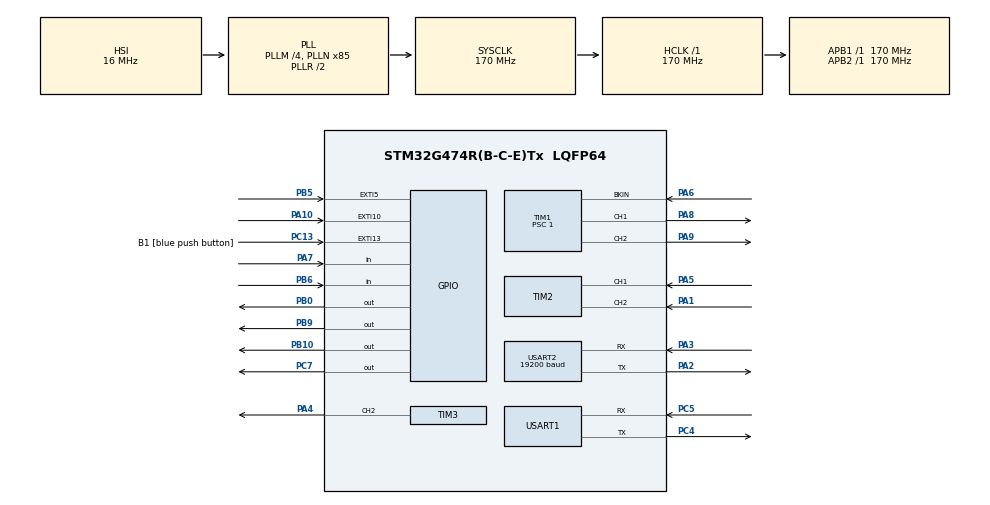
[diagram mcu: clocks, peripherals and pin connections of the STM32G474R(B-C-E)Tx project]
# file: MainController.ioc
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ARM.CMSIS-DSP.1.15.0.CMSISJjDSP=Source
ARM.CMSIS.6.0.0.CMSISJjCORE=true
Dma.Request0=USART2_RX
Dma.Request1=USART1_RX
Dma.Request2=TIM3_CH2
Dma.Request3=USART2_TX
Dma.TIM3_CH2.2.Direction=DMA_MEMORY_TO_PERIPH
Dma.TIM3_CH2.2.EventEnable=DISABLE
Dma.TIM3_CH2.2.Instance=DMA1_Channel3
Dma.TIM3_CH2.2.MemDataAlignment=DMA_MDATAALIGN_HALFWORD
Dma.TIM3_CH2.2.MemInc=DMA_MINC_ENABLE
Dma.TIM3_CH2.2.Mode=DMA_NORMAL
Dma.TIM3_CH2.2.PeriphDataAlignment=DMA_PDATAALIGN_HALFWORD
Dma.TIM3_CH2.2.PeriphInc=DMA_PINC_DISABLE
Dma.TIM3_CH2.2.Polarity=HAL_DMAMUX_REQ_GEN_RISING
Dma.TIM3_CH2.2.Priority=DMA_PRIORITY_LOW
Dma.TIM3_CH2.2.RequestNumber=1
Dma.TIM3_CH2.2.SignalID=NONE
Dma.TIM3_CH2.2.SyncEnable=DISABLE
Dma.TIM3_CH2.2.SyncPolarity=HAL_DMAMUX_SYNC_NO_EVENT
Dma.TIM3_CH2.2.SyncRequestNumber=1
Dma.TIM3_CH2.2.SyncSignalID=NONE
Dma.USART1_RX.1.Direction=DMA_PERIPH_TO_MEMORY
Dma.USART1_RX.1.EventEnable=DISABLE
Dma.USART1_RX.1.Instance=DMA2_Channel2
Dma.USART1_RX.1.MemDataAlignment=DMA_MDATAALIGN_BYTE
Dma.USART1_RX.1.MemInc=DMA_MINC_ENABLE
Dma.USART1_RX.1.Mode=DMA_CIRCULAR
Dma.USART1_RX.1.PeriphDataAlignment=DMA_PDATAALIGN_BYTE
Dma.USART1_RX.1.PeriphInc=DMA_PINC_DISABLE
Dma.USART1_RX.1.Polarity=HAL_DMAMUX_REQ_GEN_RISING
Dma.USART1_RX.1.Priority=DMA_PRIORITY_HIGH
Dma.USART1_RX.1.RequestNumber=1
Dma.USART1_RX.1.SignalID=NONE
Dma.USART1_RX.1.SyncEnable=DISABLE
Dma.USART1_RX.1.SyncPolarity=HAL_DMAMUX_SYNC_NO_EVENT
Dma.USART1_RX.1.SyncRequestNumber=1
Dma.USART1_RX.1.SyncSignalID=NONE
Dma.USART2_RX.0.Direction=DMA_PERIPH_TO_MEMORY
Dma.USART2_RX.0.EventEnable=DISABLE
Dma.USART2_RX.0.Instance=DMA1_Channel2
Dma.USART2_RX.0.MemDataAlignment=DMA_MDATAALIGN_BYTE
Dma.USART2_RX.0.MemInc=DMA_MINC_ENABLE
Dma.USART2_RX.0.Mode=DMA_NORMAL
Dma.USART2_RX.0.PeriphDataAlignment=DMA_PDATAALIGN_BYTE
Dma.USART2_RX.0.PeriphInc=DMA_PINC_DISABLE
Dma.USART2_RX.0.Polarity=HAL_DMAMUX_REQ_GEN_RISING
Dma.USART2_RX.0.Priority=DMA_PRIORITY_LOW
Dma.USART2_RX.0.RequestNumber=1
Dma.USART2_RX.0.SignalID=NONE
Dma.USART2_RX.0.SyncEnable=DISABLE
Dma.USART2_RX.0.SyncPolarity=HAL_DMAMUX_SYNC_NO_EVENT
Dma.USART2_RX.0.SyncRequestNumber=1
Dma.USART2_RX.0.SyncSignalID=NONE
Dma.USART2_TX.3.Direction=DMA_MEMORY_TO_PERIPH
Dma.USART2_TX.3.EventEnable=DISABLE
Dma.USART2_TX.3.Instance=DMA1_Channel1
Dma.USART2_TX.3.MemDataAlignment=DMA_MDATAALIGN_BYTE
Dma.USART2_TX.3.MemInc=DMA_MINC_ENABLE
Dma.USART2_TX.3.Mode=DMA_NORMAL
Dma.USART2_TX.3.PeriphDataAlignment=DMA_PDATAALIGN_BYTE
Dma.USART2_TX.3.PeriphInc=DMA_PINC_DISABLE
Dma.USART2_TX.3.Polarity=HAL_DMAMUX_REQ_GEN_RISING
Dma.USART2_TX.3.Priority=DMA_PRIORITY_LOW
Dma.USART2_TX.3.RequestNumber=1
Dma.USART2_TX.3.SignalID=NONE
Dma.USART2_TX.3.SyncEnable=DISABLE
Dma.USART2_TX.3.SyncPolarity=HAL_DMAMUX_SYNC_NO_EVENT
Dma.USART2_TX.3.SyncRequestNumber=1
Dma.USART2_TX.3.SyncSignalID=NONE
Mcu.Family=STM32G4
Mcu.Name=STM32G474R(B-C-E)Tx
Mcu.Package=LQFP64
NVIC.DMA1_Channel1_IRQn=true\:0\:0\:false\:false\:true\:false\:true\:true
NVIC.DMA1_Channel2_IRQn=true\:0\:0\:false\:false\:true\:false\:true\:true
NVIC.DMA1_Channel3_IRQn=true\:0\:0\:false\:false\:true\:false\:true\:true
NVIC.DMA2_Channel2_IRQn=true\:0\:0\:false\:false\:true\:false\:true\:true
NVIC.EXTI15_10_IRQn=true\:0\:0\:false\:false\:true\:true\:true\:true
NVIC.EXTI9_5_IRQn=true\:0\:0\:false\:false\:true\:true\:true\:true
NVIC.PriorityGroup=NVIC_PRIORITYGROUP_4
NVIC.TIM1_BRK_TIM15_IRQn=true\:0\:0\:false\:false\:true\:true\:true\:true
NVIC.TIM1_UP_TIM16_IRQn=true\:0\:0\:false\:false\:true\:true\:true\:true
NVIC.TIM4_IRQn=true\:0\:0\:false\:false\:true\:true\:true\:true
NVIC.TIM5_IRQn=true\:0\:0\:false\:false\:true\:true\:true\:true
NVIC.TIM7_DAC_IRQn=true\:0\:0\:false\:false\:true\:true\:true\:true
NVIC.USART2_IRQn=true\:0\:0\:false\:false\:true\:true\:true\:true
PA1.Signal=S_TIM2_CH2
PA10.GPIO_ModeDefaultEXTI=GPIO_MODE_IT_FALLING
PA10.GPIO_PuPd=GPIO_PULLUP
PA10.Signal=GPXTI10
PA13.GPIO_Label=T_SWDIO
PA13.Mode=Trace_Asynchronous_SW
PA13.Signal=SYS_JTMS-SWDIO
PA14.GPIO_Label=T_SWCLK
PA14.Mode=Trace_Asynchronous_SW
PA14.Signal=SYS_JTCK-SWCLK
PA2.Mode=Asynchronous
PA2.Signal=USART2_TX
PA3.Mode=Asynchronous
PA3.Signal=USART2_RX
PA4.Signal=S_TIM3_CH2
PA5.Signal=S_TIM2_CH1
PA6.GPIO_PuPd=GPIO_PULLUP
PA6.Mode=Activate-Break-Input
PA6.Signal=TIM1_BKIN
PA7.GPIO_PuPd=GPIO_PULLUP
PA7.Signal=GPIO_Input
PA8.Signal=S_TIM1_CH1
PA9.Signal=S_TIM1_CH2
PB0.PinState=GPIO_PIN_SET
PB0.Signal=GPIO_Output
PB10.PinState=GPIO_PIN_SET
PB10.Signal=GPIO_Output
PB3.GPIO_Label=T_SWO
PB3.Mode=Trace_Asynchronous_SW
PB3.Signal=SYS_JTDO-SWO
PB5.GPIO_ModeDefaultEXTI=GPIO_MODE_IT_FALLING
PB5.GPIO_PuPd=GPIO_PULLUP
PB5.Signal=GPXTI5
PB6.GPIO_PuPd=GPIO_PULLUP
PB6.Signal=GPIO_Input
PB9.PinState=GPIO_PIN_SET
PB9.Signal=GPIO_Output
PC13.GPIO_Label=B1 [blue push button]
PC13.Signal=GPXTI13
PC14-OSC32_IN.Mode=LSE-External-Oscillator
PC14-OSC32_IN.Signal=RCC_OSC32_IN
PC15-OSC32_OUT.Mode=LSE-External-Oscillator
PC15-OSC32_OUT.Signal=RCC_OSC32_OUT
PC4.Mode=Asynchronous
PC4.Signal=USART1_TX
PC5.Mode=Asynchronous
PC5.Signal=USART1_RX
PC7.PinState=GPIO_PIN_SET
PC7.Signal=GPIO_Output
PF0-OSC_IN.Mode=HSE-External-Oscillator
PF0-OSC_IN.Signal=RCC_OSC_IN
PF1-OSC_OUT.Mode=HSE-External-Oscillator
PF1-OSC_OUT.Signal=RCC_OSC_OUT
ProjectManager.HeapSize=0x200
ProjectManager.StackSize=0x400
ProjectManager.TargetToolchain=STM32CubeIDE
RCC.ADC12Freq_Value=170000000
RCC.ADC345Freq_Value=170000000
RCC.AHBFreq_Value=170000000
RCC.APB1Freq_Value=170000000
RCC.APB1TimFreq_Value=170000000
RCC.APB2Freq_Value=170000000
RCC.APB2TimFreq_Value=170000000
RCC.CortexFreq_Value=170000000
RCC.EXTERNAL_CLOCK_VALUE=12288000
RCC.HCLKFreq_Value=170000000
RCC.HSE_VALUE=24000000
RCC.HSI48_VALUE=48000000
RCC.HSI_VALUE=16000000
RCC.PLLM=RCC_PLLM_DIV4
RCC.PLLN=85
RCC.RTCClockSelection=RCC_RTCCLKSOURCE_LSE
RCC.SYSCLKFreq_VALUE=170000000
RCC.SYSCLKSource=RCC_SYSCLKSOURCE_PLLCLK
RCC.USBFreq_Value=170000000
RCC.VCOOutputFreq_Value=340000000
SH.S_TIM1_CH1.0=TIM1_CH1,PWM Generation1 CH1
SH.S_TIM1_CH2.0=TIM1_CH2,PWM Generation2 CH2
SH.S_TIM2_CH1.0=TIM2_CH1,Encoder_Interface
SH.S_TIM2_CH2.0=TIM2_CH2,Encoder_Interface
SH.S_TIM3_CH2.0=TIM3_CH2,PWM Generation2 CH2
TIM1.BreakPolarity=TIM_BREAKPOLARITY_LOW
TIM1.Channel-PWM\ Generation1\ CH1=TIM_CHANNEL_1
TIM1.Channel-PWM\ Generation2\ CH2=TIM_CHANNEL_2
TIM1.OCPolarity_1=TIM_OCPOLARITY_HIGH
TIM1.OCPolarity_2=TIM_OCPOLARITY_HIGH
TIM1.Prescaler=1
TIM1.SourceBRKDigInputPolarity=TIM_BREAKINPUTSOURCE_POLARITY_LOW
TIM16.PeriodNoDither=999
TIM16.Prescaler=169
TIM2.EncoderMode=TIM_ENCODERMODE_TI12
TIM2.IC1Filter=2
TIM2.IC2Filter=2
TIM3.Channel-PWM\ Generation2\ CH2=TIM_CHANNEL_2
TIM3.PeriodNoDither=106
TIM3.Prescaler=1
TIM4.PeriodNoDither=999
TIM4.Prescaler=169
TIM5.PeriodNoDither=1999
TIM5.Prescaler=16999
TIM7.PeriodNoDither=65535
TIM7.Prescaler=169
USART1.VirtualMode-Asynchronous=VM_ASYNC
USART2.BaudRate=19200
USART2.Parity=PARITY_EVEN
USART2.VirtualMode-Asynchronous=VM_ASYNC
USART2.WordLength=WORDLENGTH_9B
VP_ARM.CMSIS-DSP_VS_CMSISJjDSP_1.15.0_1.15.0.Mode=CMSISJjDSP
VP_ARM.CMSIS_VS_CMSISJjCORE_6.0.0_6.0.0.Mode=CMSISJjCORE
VP_SYS_VS_DBSignals.Mode=DisableDeadBatterySignals
VP_TIM16_VS_ClockSourceINT.Mode=Enable_Timer
VP_TIM1_VS_ClockSourceINT.Mode=Internal
VP_TIM3_VS_ClockSourceINT.Mode=Internal
VP_TIM4_VS_ClockSourceINT.Mode=Internal
VP_TIM5_VS_ClockSourceINT.Mode=Internal
VP_TIM7_VS_ClockSourceINT.Mode=Enable_Timer
board=NUCLEO-G474RE

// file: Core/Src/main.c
/* USER CODE BEGIN Header */
/**
  ******************************************************************************
  * @file           : main.c
  * @brief          : Main program body
  ******************************************************************************
  * @attention
  *
  * Copyright (c) 2024 STMicroelectronics.
  * All rights reserved.
  *
  * This software is licensed under terms that can be found in the LICENSE file
  * in the root directory of this software component.
  * If no LICENSE file comes with this software, it is provided AS-IS.
  *
  ******************************************************************************
  */
/* USER CODE END Header */
#include "main.h"

/* USER CODE BEGIN Includes */
#include "subroutine.h"
#include "ModBusRTU.h"
#include "arm_math.h"
#include <math.h>
/* USER CODE END Includes */

TIM_HandleTypeDef htim1;
TIM_HandleTypeDef htim2;
TIM_HandleTypeDef htim3;
TIM_HandleTypeDef htim4;
TIM_HandleTypeDef htim5;
TIM_HandleTypeDef htim7;
TIM_HandleTypeDef htim16;
DMA_HandleTypeDef hdma_tim3_ch2;

UART_HandleTypeDef huart1;
UART_HandleTypeDef huart2;
DMA_HandleTypeDef hdma_usart1_rx;
DMA_HandleTypeDef hdma_usart2_rx;
DMA_HandleTypeDef hdma_usart2_tx;

/* USER CODE BEGIN PV */
////*JOYSTICK PART
// @User: Joystick receiving buffer
uint8_t joystickPayload[1] = {0};

// @User: Encoder's raw angle from QEI
uint32_t qeiRaw = 0;
float qeifloat = 0.0;

// @User: Base system receiving buffer

// @User: Motor's parameter
volatile uint8_t zStop = 0;

///*MODBUS PART
ModbusHandleTypedef hmodbus;

//flag
uint8_t flagShelf = 0; //set shelf
uint16_t piingpong; //movement

uint8_t vacuum;
uint8_t gripper;
uint8_t reed;
uint16_t rState1;
uint16_t rState2;
uint16_t linear_velocity;
uint16_t linear_accel;
uint16_t linear_position;

u16u8_t registerFrame[200]; //middle between base n z axis (they will see the same.)
uint16_t shelfPos[5];
uint16_t setPos;
uint16_t x_pos; // x - axis
uint8_t deb = 0;
uint8_t mode;

uint16_t temPick; // temporary shelves order
uint16_t temPlace;
uint16_t pick[5]; // shelves order array
uint16_t place[5];
uint8_t rnd; // jog counter
uint8_t rnd2;
uint8_t load;

///*Trajectory PART
float time_op = 2;    // stop time in seconds
float position_goal = 0.0;   // stop position in meters
float position_now = 0;
float total_displacement = 0;
float total_time = 0;
float t_acc =0;
float t_const = 0;
float Peak = 0;
uint64_t i = 0;
int num_points = 2000;
float t = 0;
float velocity;
float position;
float startTime;
uint16_t Mode = 0;
uint16_t St;
uint16_t Home = 0;
//uint64_t _micros = 0;
float Vfeedback = 0.0;
float VInM = 0;
arm_pid_instance_f32 PID = {0};
uint16_t dir;
float BTempV;
int pwmM;
uint32_t qeirawread;
uint32_t spd;
uint32_t pos;
float err = 0.008733333333;
float pos_err;
float err_g;
uint16_t rou = 0;
uint16_t Box = 0;
uint16_t Ho = 0;
uint16_t PP = 0;
uint64_t Time_R = 0;
uint64_t Rout;

uint8_t buf[3] = {2,2,3};
uint8_t L_State;
uint8_t L;
uint8_t fin;
int16_t VT;
uint64_t currentTime;
uint8_t end = 0;
uint8_t X1 = 0;
uint8_t X2 = 0;
/////
typedef struct
{
// for record New / Old value to calculate dx / dt
uint64_t Positions[2];
uint64_t TimeStamps[2];
float QEIPostion_1turn;
float QEIAngularVelocity;
}QEI_StructureTypeDef;
QEI_StructureTypeDef QEIdata = {0};
uint64_t _micros = 0;
enum
{
NEW,OLD
};
//////

int64_t diffPosition;
float diffTime;
/* USER CODE END PV */

void SystemClock_Config(void);
static void MX_GPIO_Init(void);
static void MX_DMA_Init(void);
static void MX_USART1_UART_Init(void);
static void MX_USART2_UART_Init(void);
static void MX_TIM1_Init(void);
static void MX_TIM2_Init(void);
static void MX_TIM3_Init(void);
static void MX_TIM5_Init(void);
static void MX_TIM16_Init(void);
static void MX_TIM4_Init(void);
static void MX_TIM7_Init(void);
/* USER CODE BEGIN PFP */
void BaseAction(void);
void OrderSeparate(void);
void generate_trapezoidal_velocity_profile(double t2, double x2);
float PlantSimulation(float VIn) ;
uint64_t micros();
void QEIEncoderPosVel_Update();
/* USER CODE END PFP */

int main(void)
{

  /* MCU Configuration--------------------------------------------------------*/

  /* Reset of all peripherals, Initializes the Flash interface and the Systick. */
  HAL_Init();

  /* Configure the system clock */
  SystemClock_Config();

  /* Initialize all configured peripherals */
  MX_GPIO_Init();
  MX_DMA_Init();
  MX_USART1_UART_Init();
  MX_USART2_UART_Init();
  MX_TIM1_Init();
  MX_TIM2_Init();
  MX_TIM3_Init();
  MX_TIM5_Init();
  MX_TIM16_Init();
  MX_TIM4_Init();
  MX_TIM7_Init();
  /* USER CODE BEGIN 2 */

  ///TRAJECTORY
  PID.Kp = 6.1;
  PID.Ki = 0.001;
  PID.Kd = 0.01;

  arm_pid_init_f32(&PID, 0);
  // @User: Setup UART 1 for communication with joy stick
  HAL_UART_Receive_DMA(&huart1, joystickPayload, 1);

  // @User: Setup UART 2 for communication with Base system
  HAL_TIM_Base_Start_IT(&htim5); //open Timer 5 (interrupt)
  hmodbus.huart = &huart2;
  hmodbus.htim = &htim16;
  hmodbus.slaveAddress = 0x15;
  hmodbus.RegisterSize =200;
  Modbus_init(&hmodbus, registerFrame);
  reed = 0;

  shelfPos[0] = 1;
  shelfPos[1] = 2;
  shelfPos[2] = 3;
  shelfPos[3] = 4;
  shelfPos[4] = 5;

  // @User: Setup Timer 1 for Motor drive
  HAL_TIM_Base_Start(&htim1);
  HAL_TIM_PWM_Start(&htim1, TIM_CHANNEL_1);
  HAL_TIM_PWM_Start(&htim1, TIM_CHANNEL_2);

  // @User: Setup Timer 2 as encoder interface
  HAL_TIM_Encoder_Start(&htim2, TIM_CHANNEL_ALL);

  // @User: Setup Timer 3 for sending led data
  HAL_TIM_Base_Start(&htim3);
//
  // TODO: Test subroutine
//  uint16_t result = retractX();
//  uint16_t result = extendX();
//  HAL_TIM_Base_Start_IT(&htim4);
//  uint8_t result = HomeZ();
//  __HAL_TIM_SET_COUNTER(&htim2, 0);

//  if (position_goal >= 300)
//  {
//	  err_g =  (position_goal * err);
//
//	  pos_err = (position_goal - err_g)+2;
//  }
//
//  else if (position_goal < 300)
//  {
//	  pos_err = position_goal;
//  }

  	pick[0] = 100;
  	pick[1] = 200;
  	pick[2] = 300;
  	pick[3] = 400;
  	pick[4] = 500;

  	place[0] = 0;
  	place[1] = 0;
  	place[2] = 0;
  	place[3] = 0;
  	place[4] = 600;

  	  	  buf[0] = 3;
  		  L_State = updateLED(buf,&htim3,TIM_CHANNEL_2);
  		  uint8_t result = HomeZ();
  		  HAL_Delay(2000);
  		  __HAL_TIM_SET_COUNTER(&htim2, 0);
  		  generate_trapezoidal_velocity_profile(time_op,16.0);
  		  Home = 0;
  		  rou = 0;

  /* USER CODE END 2 */

  /* Infinite loop */
  /* USER CODE BEGIN WHILE */
  while (1)
  {

//	  Mode = 1;

    /* USER CODE END WHILE */

    /* USER CODE BEGIN 3 */

//	  uint8_t result = HomeZ();

	  X2 = HAL_GPIO_ReadPin(GPIOB, GPIO_PIN_6);

	  X1 = HAL_GPIO_ReadPin(GPIOA, GPIO_PIN_7);

	  if (rou >= 20 && end == 0)
	  {
		  Rout = HAL_GetTick();
//		  Time_R = HAL_GetTick();
//		  HAL_TIM_Base_Start_IT(&htim7);
	  }
	  else if (end == 1)
	  {
//		  __HAL_TIM_SET_COUNTER(&htim7, 0);
		  Rout = 0;
//		  _micros = 0;
//		  end = 0;
	  }

	  if(Rout > (Time_R-2000) && fin == 1)
	  {
		  if ( Box == 0 && PP == 0)
		  {
			  pickBox();
			  Box = 1;
			  PP = 1;
		  }
		  else if ( Box == 1 && PP == 0)
		  {
			  placeBox();
			  Box = 0;
			  PP = 1;
		  }
	  }

	  if(Rout > Time_R && fin == 1)
	  {
	  Time_R = Rout + 10000;//us
	  Mode = 1;
	  fin = 0;
	  PP = 0;
	  }
//	  currentTime = __HAL_TIM_GET_COUNTER(&htim15);

//	  if ( St == 1)
//	  {
//		  if (qeirawread <= (8192*5))
////		  	  {
//		  		  __HAL_TIM_SET_COMPARE(&htim1, TIM_CHANNEL_1, 30000);
//		  		  __HAL_TIM_SET_COMPARE(&htim1, TIM_CHANNEL_2, 0);
//		  	  }
//	  }
	  //TRAJECTORY

//	  err_g =  (position_goal * err);
//
//	  pos_err = (position_goal - err_g)+14;
//
//
	  if (Mode == 1 && rou == 20)
	 	  {
	 		  generate_trapezoidal_velocity_profile(time_op, pick[0]+16.0);

	 	  }

	  else if (Mode == 1 && rou == 21)
	  	 	  {
	  	 		  generate_trapezoidal_velocity_profile(time_op, place[0]+16.0);

	  	 	  }
	  else if (Mode == 1 && rou == 22)
	  	  	 	  {
	  	  	 		  generate_trapezoidal_velocity_profile(time_op, pick[1]+16.0);

	  	  	 	  }
	  else if (Mode == 1 && rou == 23)
	  	  	  	 	  {
	  	  	  	 		  generate_trapezoidal_velocity_profile(time_op, place[1]+16.0);

	  	  	  	 	  }
	  else if (Mode == 1 && rou == 24)
	  	  	  	  	 	  {
	  	  	  	  	 		  generate_trapezoidal_velocity_profile(time_op, pick[2]+16.0);

	  	  	  	  	 	  }
	  else if (Mode == 1 && rou == 25)
	  	  	  	  	 	  {
	  	  	  	  	 		  generate_trapezoidal_velocity_profile(time_op, place[2]+16.0);

	  	  	  	  	 	  }
	  else if (Mode == 1 && rou == 26)
	  	  	  	  	 	  {
	  	  	  	  	 		  generate_trapezoidal_velocity_profile(time_op, pick[3]+16.0);

	  	  	  	  	 	  }
	  else if (Mode == 1 && rou == 27)
	  	  	  	  	  	 	  {
	  	  	  	  	  	 		  generate_trapezoidal_velocity_profile(time_op, place[3]+16.0);

	  	  	  	  	  	 	  }
	  else if (Mode == 1 && rou == 28)
	  	  	  	  	  	 	  {
	  	  	  	  	  	 		  generate_trapezoidal_velocity_profile(time_op, pick[4]+16.0);

	  	  	  	  	  	 	  }
	  else if (Mode == 1 && rou == 29)
	  	  	  	  	  	  	 	  {
	  	  	  	  	  	  	 		  generate_trapezoidal_velocity_profile(time_op, place[4]+16.0);
	  	  	  	  	  	  	 		  end = 1;

	  	  	  	  	  	  	 	  }

	  if ( joystickPayload[0] == 0x80 )
	  {
		  NVIC_SystemReset();
//		  Vfeedback = 0;
//		  //
//
//		  				        	velocity = 0;
//		  				        	position = 0;
//		  //
//		  				        	pwmM = 0;
//		  	  	  	  joystickPayload[0] = 0;
//		  	  	  	  buf[0] = 3;
//		    		  L_State = updateLED(buf,&htim3,TIM_CHANNEL_2);
//		    		  uint8_t result = HomeZ();
//		    		  HAL_Delay(2000);
//		    		  __HAL_TIM_SET_COUNTER(&htim2, 0);
//		    		  generate_trapezoidal_velocity_profile(time_op,16.0);
//		    		  Home = 0;
//		    		  rou = 0;
	  }

	  else if ( joystickPayload[0] == 0x40)
		{
		  generate_trapezoidal_velocity_profile(time_op, (position + 0.1));
		  joystickPayload[0] = 0 ;
		}
	  else if ( joystickPayload[0] == 0x41)
	  		{
		  generate_trapezoidal_velocity_profile(time_op, (position + 1.0));
		  joystickPayload[0] = 0 ;
	  		}
	  else if ( joystickPayload[0] == 0x42)
	  		{
		  generate_trapezoidal_velocity_profile(time_op, (position + 10.0));
		  joystickPayload[0] = 0 ;
	  		}
	  else if ( joystickPayload[0] == 0x43)
	  		{
		  generate_trapezoidal_velocity_profile(time_op, (position + 100.0));
		  joystickPayload[0] = 0 ;
	  		}
//	  else if ( joystickPayload[0] == 0x00)
//	  		{
//		  generate_trapezoidal_velocity_profile(time_op, (position - 0.1));
//		  joystickPayload[0] = 0 ;
//	  		}
	  	  else if ( joystickPayload[0] == 0x01)
	  	  		{
	  		generate_trapezoidal_velocity_profile(time_op, (position - 1.0));
	  		joystickPayload[0] = 0 ;
	  	  		}
	  	  else if ( joystickPayload[0] == 0x02)
	  	  		{
	  		generate_trapezoidal_velocity_profile(time_op, (position - 10.0));
	  		joystickPayload[0] = 0 ;
	  	  		}
	  	  else if ( joystickPayload[0] == 0x03)
	  	  		{
	  		generate_trapezoidal_velocity_profile(time_op, (position - 100.0));
	  		joystickPayload[0] = 0 ;
	  	  		}

	  // TODO: Test encoder QEI, remove later
	  qeiRaw  = __HAL_TIM_GET_COUNTER(&htim2);
	  qeifloat = (__HAL_TIM_GET_COUNTER(&htim2))*(60.0/8192);

	  Modbus_Protocal_Worker();
	  vacuum = registerFrame[0x02].U16;
	  gripper = registerFrame[0x03].U16;
	  registerFrame[0x04].U16 = reed;

	  ///*MODBUS PART
	  if(registerFrame[0x00].U16 != 22881){
		  registerFrame[0x00].U16 = 22881;
		  deb++;
	  }

 	  static uint16_t timestamp = 0;
 	  //Set shelves
 	  if(registerFrame[0x01].U16 == 1)
 	  {
 		  registerFrame[0x01].U16 = 0;
 		  registerFrame[0x10].U16 = 1;
 		  registerFrame[0x23].U16 = shelfPos[0];
 		  registerFrame[0x24].U16 = shelfPos[1];
 		  registerFrame[0x25].U16 = shelfPos[2];
 		  registerFrame[0x26].U16 = shelfPos[3];
 		  registerFrame[0x27].U16 = shelfPos[4];
 		  //delay 2000ms
 		  timestamp = HAL_GetTick()+2000;
 	  }
 	  if(HAL_GetTick() >= timestamp && (registerFrame[0x10].U16 == 1))
 	  {
 		  registerFrame[0x10].U16 = 0;
 	  }
 	  //Monkey_Home
 	  if(registerFrame[0x01].U16 == 2)
 	  {
 		  registerFrame[0x01].U16 = 0;
 		  registerFrame[0x10].U16 = 2;
 		  setPos =  shelfPos[0];
 	  }
 	  //point mode
 	  if(registerFrame[0x01].U16 == 8)
 	  {
 		  registerFrame[0x01].U16 = 0;
 		  registerFrame[0x10].U16 = 16;
 		  setPos =  registerFrame[0x30].U16;
 	  }
 	  //reset
 	  if(piingpong == 1 && (registerFrame[0x10].U16 == 2 || registerFrame[0x10].U16 == 16) )//check piingpong status
 	  {
 		  registerFrame[0x10].U16 = 0;
 	  }
 	  //jog mode
 	  if((registerFrame[0x01].U16 == 4))
 	  {
 		  registerFrame[0x01].U16 = 0; //reset status

 	      temPick = (registerFrame[0x21].U16);
 	      temPlace = (registerFrame[0x22].U16);
 	      rnd = 0;
 	      ////// Convert to string
 	      for(uint16_t i = 10000;i>=1;i/=10)
 	      {
 	    	  if(temPick/i == 0 || temPick/i > 5 || temPlace/i == 0 || temPlace/i > 5) // check if 0 or > 5
 	    	  {
 	    		  rnd = 0;
 	    		  break;
 	    	  }
 	    	  pick[rnd] = temPick/i; // use this for pick
 	    	  place[rnd] = temPlace/i; // use this for place
 	    	  temPick = temPick%i;
 	    	  temPlace = temPlace%i;
 	    	  rnd++;
 	      }
 	  }
 	  else if(rnd > 0) //  run Jog
 	  {
 	  		if(registerFrame[0x10].U16 == 0 && rnd == 5 && gripper == 0 && reed == 1 && vacuum == 0) // first rev
 	  		{
 	  			(registerFrame[0x10].U16) = 4; // Z-go pick
 	  			setPos = shelfPos[pick[5-rnd]-1];
 	  		}
 	  		if((piingpong && registerFrame[0x10].U16 == 8)) // prev mode: place, do pick
 	  		{
 	  			///////place down

 	  			if(reed != 2){
 	  				registerFrame[0x03].U16 = 1; // gripper forward
 	  			}
 	  			else //reached
 	  			{
 	  				registerFrame[0x02].U16 = 0; //vacuum off
 	  					//Delay a few sec
 	  				registerFrame[0x03].U16 = 0; //gripper backward
 	  			}
 	  			///////finish place -> move on
 	  			if(gripper == 0 && reed == 1 && vacuum == 0)
 	  			{
 	  				rnd--;
 	  				if(rnd>0)
 	  				{
 	  					(registerFrame[0x10].U16) = 4; // Z-go pick
 	  					setPos = shelfPos[pick[5-rnd]-1];
 	  				}
 	  				else
 	  				{
 	  					(registerFrame[0x10].U16 = 0); // End Jogs
 	  				}
 	  			}
 	  			//MoveTosetPos();
 	  		}
 	  		else if(piingpong && registerFrame[0x10].U16 == 4)// prev mode: pick, do place
 	  		{
 	  			//////pick up
 	  			if(reed != 2)
 	  			{
 	  				registerFrame[0x03].U16 = 1; //gripper forward
 	  			}
 	  			else
 	  			{
 	  				registerFrame[0x02].U16 = 1; //vacuum on
 	  				// Delay a few sec
 	  				registerFrame[0x03].U16 = 0; //gripper backward
 	  			}
 	  			///////finish pick -> move on
 	  			if(gripper == 0 && reed == 1 && vacuum == 1)
 	  			{
 	  				(registerFrame[0x10].U16) = 8; // Z-go place
 	  				setPos = shelfPos[place[5-rnd]-1];
 	  			}
 	  		}

 	  	}

 	  	else if(piingpong && (registerFrame[0x10].U16 == 2 || registerFrame[0x10].U16 == 16))
 	  	{
 	  		//finish point & home mode
 	  		registerFrame[0x10].U16 = 0;
 	  	}
  }
  /* USER CODE END 3 */
}

void SystemClock_Config(void)
{
  RCC_OscInitTypeDef RCC_OscInitStruct = {0};
  RCC_ClkInitTypeDef RCC_ClkInitStruct = {0};

  /** Configure the main internal regulator output voltage
  */
  HAL_PWREx_ControlVoltageScaling(PWR_REGULATOR_VOLTAGE_SCALE1_BOOST);

  /** Initializes the RCC Oscillators according to the specified parameters
  * in the RCC_OscInitTypeDef structure.
  */
  RCC_OscInitStruct.OscillatorType = RCC_OSCILLATORTYPE_HSI;
  RCC_OscInitStruct.HSIState = RCC_HSI_ON;
  RCC_OscInitStruct.HSICalibrationValue = RCC_HSICALIBRATION_DEFAULT;
  RCC_OscInitStruct.PLL.PLLState = RCC_PLL_ON;
  RCC_OscInitStruct.PLL.PLLSource = RCC_PLLSOURCE_HSI;
  RCC_OscInitStruct.PLL.PLLM = RCC_PLLM_DIV4;
  RCC_OscInitStruct.PLL.PLLN = 85;
  RCC_OscInitStruct.PLL.PLLP = RCC_PLLP_DIV2;
  RCC_OscInitStruct.PLL.PLLQ = RCC_PLLQ_DIV2;
  RCC_OscInitStruct.PLL.PLLR = RCC_PLLR_DIV2;
  if (HAL_RCC_OscConfig(&RCC_OscInitStruct) != HAL_OK)
  {
    Error_Handler();
  }

  /** Initializes the CPU, AHB and APB buses clocks
  */
  RCC_ClkInitStruct.ClockType = RCC_CLOCKTYPE_HCLK|RCC_CLOCKTYPE_SYSCLK
                              |RCC_CLOCKTYPE_PCLK1|RCC_CLOCKTYPE_PCLK2;
  RCC_ClkInitStruct.SYSCLKSource = RCC_SYSCLKSOURCE_PLLCLK;
  RCC_ClkInitStruct.AHBCLKDivider = RCC_SYSCLK_DIV1;
  RCC_ClkInitStruct.APB1CLKDivider = RCC_HCLK_DIV1;
  RCC_ClkInitStruct.APB2CLKDivider = RCC_HCLK_DIV1;

  if (HAL_RCC_ClockConfig(&RCC_ClkInitStruct, FLASH_LATENCY_4) != HAL_OK)
  {
    Error_Handler();
  }
}

static void MX_TIM1_Init(void)
{

  TIM_ClockConfigTypeDef sClockSourceConfig = {0};
  TIM_MasterConfigTypeDef sMasterConfig = {0};
  TIMEx_BreakInputConfigTypeDef sBreakInputConfig = {0};
  TIM_OC_InitTypeDef sConfigOC = {0};
  TIM_BreakDeadTimeConfigTypeDef sBreakDeadTimeConfig = {0};

  htim1.Instance = TIM1;
  htim1.Init.Prescaler = 1;
  htim1.Init.CounterMode = TIM_COUNTERMODE_UP;
  htim1.Init.Period = 65535;
  htim1.Init.ClockDivision = TIM_CLOCKDIVISION_DIV1;
  htim1.Init.RepetitionCounter = 0;
  htim1.Init.AutoReloadPreload = TIM_AUTORELOAD_PRELOAD_DISABLE;
  if (HAL_TIM_Base_Init(&htim1) != HAL_OK)
  {
    Error_Handler();
  }
  sClockSourceConfig.ClockSource = TIM_CLOCKSOURCE_INTERNAL;
  if (HAL_TIM_ConfigClockSource(&htim1, &sClockSourceConfig) != HAL_OK)
  {
    Error_Handler();
  }
  if (HAL_TIM_PWM_Init(&htim1) != HAL_OK)
  {
    Error_Handler();
  }
  sMasterConfig.MasterOutputTrigger = TIM_TRGO_RESET;
  sMasterConfig.MasterOutputTrigger2 = TIM_TRGO2_RESET;
  sMasterConfig.MasterSlaveMode = TIM_MASTERSLAVEMODE_DISABLE;
  if (HAL_TIMEx_MasterConfigSynchronization(&htim1, &sMasterConfig) != HAL_OK)
  {
    Error_Handler();
  }
  sBreakInputConfig.Source = TIM_BREAKINPUTSOURCE_BKIN;
  sBreakInputConfig.Enable = TIM_BREAKINPUTSOURCE_ENABLE;
  sBreakInputConfig.Polarity = TIM_BREAKINPUTSOURCE_POLARITY_LOW;
  if (HAL_TIMEx_ConfigBreakInput(&htim1, TIM_BREAKINPUT_BRK, &sBreakInputConfig) != HAL_OK)
  {
    Error_Handler();
  }
  sConfigOC.OCMode = TIM_OCMODE_PWM1;
  sConfigOC.Pulse = 0;
  sConfigOC.OCPolarity = TIM_OCPOLARITY_HIGH;
  sConfigOC.OCNPolarity = TIM_OCNPOLARITY_HIGH;
  sConfigOC.OCFastMode = TIM_OCFAST_DISABLE;
  sConfigOC.OCIdleState = TIM_OCIDLESTATE_RESET;
  sConfigOC.OCNIdleState = TIM_OCNIDLESTATE_RESET;
  if (HAL_TIM_PWM_ConfigChannel(&htim1, &sConfigOC, TIM_CHANNEL_1) != HAL_OK)
  {
    Error_Handler();
  }
  if (HAL_TIM_PWM_ConfigChannel(&htim1, &sConfigOC, TIM_CHANNEL_2) != HAL_OK)
  {
    Error_Handler();
  }
  sBreakDeadTimeConfig.OffStateRunMode = TIM_OSSR_DISABLE;
  sBreakDeadTimeConfig.OffStateIDLEMode = TIM_OSSI_DISABLE;
  sBreakDeadTimeConfig.LockLevel = TIM_LOCKLEVEL_OFF;
  sBreakDeadTimeConfig.DeadTime = 0;
  sBreakDeadTimeConfig.BreakState = TIM_BREAK_ENABLE;
  sBreakDeadTimeConfig.BreakPolarity = TIM_BREAKPOLARITY_LOW;
  sBreakDeadTimeConfig.BreakFilter = 0;
  sBreakDeadTimeConfig.BreakAFMode = TIM_BREAK_AFMODE_INPUT;
  sBreakDeadTimeConfig.Break2State = TIM_BREAK2_DISABLE;
  sBreakDeadTimeConfig.Break2Polarity = TIM_BREAK2POLARITY_HIGH;
  sBreakDeadTimeConfig.Break2Filter = 0;
  sBreakDeadTimeConfig.Break2AFMode = TIM_BREAK_AFMODE_INPUT;
  sBreakDeadTimeConfig.AutomaticOutput = TIM_AUTOMATICOUTPUT_DISABLE;
  if (HAL_TIMEx_ConfigBreakDeadTime(&htim1, &sBreakDeadTimeConfig) != HAL_OK)
  {
    Error_Handler();
  }
  HAL_TIM_MspPostInit(&htim1);

}

static void MX_TIM2_Init(void)
{

  TIM_Encoder_InitTypeDef sConfig = {0};
  TIM_MasterConfigTypeDef sMasterConfig = {0};

  htim2.Instance = TIM2;
  htim2.Init.Prescaler = 0;
  htim2.Init.CounterMode = TIM_COUNTERMODE_UP;
  htim2.Init.Period = 4294967295;
  htim2.Init.ClockDivision = TIM_CLOCKDIVISION_DIV1;
  htim2.Init.AutoReloadPreload = TIM_AUTORELOAD_PRELOAD_DISABLE;
  sConfig.EncoderMode = TIM_ENCODERMODE_TI12;
  sConfig.IC1Polarity = TIM_ICPOLARITY_RISING;
  sConfig.IC1Selection = TIM_ICSELECTION_DIRECTTI;
  sConfig.IC1Prescaler = TIM_ICPSC_DIV1;
  sConfig.IC1Filter = 2;
  sConfig.IC2Polarity = TIM_ICPOLARITY_RISING;
  sConfig.IC2Selection = TIM_ICSELECTION_DIRECTTI;
  sConfig.IC2Prescaler = TIM_ICPSC_DIV1;
  sConfig.IC2Filter = 2;
  if (HAL_TIM_Encoder_Init(&htim2, &sConfig) != HAL_OK)
  {
    Error_Handler();
  }
  sMasterConfig.MasterOutputTrigger = TIM_TRGO_RESET;
  sMasterConfig.MasterSlaveMode = TIM_MASTERSLAVEMODE_DISABLE;
  if (HAL_TIMEx_MasterConfigSynchronization(&htim2, &sMasterConfig) != HAL_OK)
  {
    Error_Handler();
  }

}

static void MX_TIM3_Init(void)
{

  TIM_ClockConfigTypeDef sClockSourceConfig = {0};
  TIM_MasterConfigTypeDef sMasterConfig = {0};
  TIM_OC_InitTypeDef sConfigOC = {0};

  htim3.Instance = TIM3;
  htim3.Init.Prescaler = 1;
  htim3.Init.CounterMode = TIM_COUNTERMODE_UP;
  htim3.Init.Period = 106;
  htim3.Init.ClockDivision = TIM_CLOCKDIVISION_DIV1;
  htim3.Init.AutoReloadPreload = TIM_AUTORELOAD_PRELOAD_DISABLE;
  if (HAL_TIM_Base_Init(&htim3) != HAL_OK)
  {
    Error_Handler();
  }
  sClockSourceConfig.ClockSource = TIM_CLOCKSOURCE_INTERNAL;
  if (HAL_TIM_ConfigClockSource(&htim3, &sClockSourceConfig) != HAL_OK)
  {
    Error_Handler();
  }
  if (HAL_TIM_PWM_Init(&htim3) != HAL_OK)
  {
    Error_Handler();
  }
  sMasterConfig.MasterOutputTrigger = TIM_TRGO_RESET;
  sMasterConfig.MasterSlaveMode = TIM_MASTERSLAVEMODE_DISABLE;
  if (HAL_TIMEx_MasterConfigSynchronization(&htim3, &sMasterConfig) != HAL_OK)
  {
    Error_Handler();
  }
  sConfigOC.OCMode = TIM_OCMODE_PWM1;
  sConfigOC.Pulse = 0;
  sConfigOC.OCPolarity = TIM_OCPOLARITY_HIGH;
  sConfigOC.OCFastMode = TIM_OCFAST_DISABLE;
  if (HAL_TIM_PWM_ConfigChannel(&htim3, &sConfigOC, TIM_CHANNEL_2) != HAL_OK)
  {
    Error_Handler();
  }
  HAL_TIM_MspPostInit(&htim3);

}

static void MX_TIM4_Init(void)
{

  TIM_ClockConfigTypeDef sClockSourceConfig = {0};
  TIM_MasterConfigTypeDef sMasterConfig = {0};

  htim4.Instance = TIM4;
  htim4.Init.Prescaler = 169;
  htim4.Init.CounterMode = TIM_COUNTERMODE_UP;
  htim4.Init.Period = 999;
  htim4.Init.ClockDivision = TIM_CLOCKDIVISION_DIV1;
  htim4.Init.AutoReloadPreload = TIM_AUTORELOAD_PRELOAD_DISABLE;
  if (HAL_TIM_Base_Init(&htim4) != HAL_OK)
  {
    Error_Handler();
  }
  sClockSourceConfig.ClockSource = TIM_CLOCKSOURCE_INTERNAL;
  if (HAL_TIM_ConfigClockSource(&htim4, &sClockSourceConfig) != HAL_OK)
  {
    Error_Handler();
  }
  sMasterConfig.MasterOutputTrigger = TIM_TRGO_RESET;
  sMasterConfig.MasterSlaveMode = TIM_MASTERSLAVEMODE_DISABLE;
  if (HAL_TIMEx_MasterConfigSynchronization(&htim4, &sMasterConfig) != HAL_OK)
  {
    Error_Handler();
  }

}

static void MX_TIM5_Init(void)
{

  TIM_ClockConfigTypeDef sClockSourceConfig = {0};
  TIM_MasterConfigTypeDef sMasterConfig = {0};

  htim5.Instance = TIM5;
  htim5.Init.Prescaler = 16999;
  htim5.Init.CounterMode = TIM_COUNTERMODE_UP;
  htim5.Init.Period = 1999;
  htim5.Init.ClockDivision = TIM_CLOCKDIVISION_DIV1;
  htim5.Init.AutoReloadPreload = TIM_AUTORELOAD_PRELOAD_DISABLE;
  if (HAL_TIM_Base_Init(&htim5) != HAL_OK)
  {
    Error_Handler();
  }
  sClockSourceConfig.ClockSource = TIM_CLOCKSOURCE_INTERNAL;
  if (HAL_TIM_ConfigClockSource(&htim5, &sClockSourceConfig) != HAL_OK)
  {
    Error_Handler();
  }
  sMasterConfig.MasterOutputTrigger = TIM_TRGO_RESET;
  sMasterConfig.MasterSlaveMode = TIM_MASTERSLAVEMODE_DISABLE;
  if (HAL_TIMEx_MasterConfigSynchronization(&htim5, &sMasterConfig) != HAL_OK)
  {
    Error_Handler();
  }

}

static void MX_TIM7_Init(void)
{

  TIM_MasterConfigTypeDef sMasterConfig = {0};

  htim7.Instance = TIM7;
  htim7.Init.Prescaler = 169;
  htim7.Init.CounterMode = TIM_COUNTERMODE_UP;
  htim7.Init.Period = 65535;
  htim7.Init.AutoReloadPreload = TIM_AUTORELOAD_PRELOAD_DISABLE;
  if (HAL_TIM_Base_Init(&htim7) != HAL_OK)
  {
    Error_Handler();
  }
  sMasterConfig.MasterOutputTrigger = TIM_TRGO_RESET;
  sMasterConfig.MasterSlaveMode = TIM_MASTERSLAVEMODE_DISABLE;
  if (HAL_TIMEx_MasterConfigSynchronization(&htim7, &sMasterConfig) != HAL_OK)
  {
    Error_Handler();
  }

}

static void MX_TIM16_Init(void)
{

  htim16.Instance = TIM16;
  htim16.Init.Prescaler = 169;
  htim16.Init.CounterMode = TIM_COUNTERMODE_UP;
  htim16.Init.Period = 999;
  htim16.Init.ClockDivision = TIM_CLOCKDIVISION_DIV1;
  htim16.Init.RepetitionCounter = 0;
  htim16.Init.AutoReloadPreload = TIM_AUTORELOAD_PRELOAD_DISABLE;
  if (HAL_TIM_Base_Init(&htim16) != HAL_OK)
  {
    Error_Handler();
  }

}

static void MX_USART1_UART_Init(void)
{

  huart1.Instance = USART1;
  huart1.Init.BaudRate = 115200;
  huart1.Init.WordLength = UART_WORDLENGTH_8B;
  huart1.Init.StopBits = UART_STOPBITS_1;
  huart1.Init.Parity = UART_PARITY_NONE;
  huart1.Init.Mode = UART_MODE_TX_RX;
  huart1.Init.HwFlowCtl = UART_HWCONTROL_NONE;
  huart1.Init.OverSampling = UART_OVERSAMPLING_16;
  huart1.Init.OneBitSampling = UART_ONE_BIT_SAMPLE_DISABLE;
  huart1.Init.ClockPrescaler = UART_PRESCALER_DIV1;
  huart1.AdvancedInit.AdvFeatureInit = UART_ADVFEATURE_NO_INIT;
  if (HAL_UART_Init(&huart1) != HAL_OK)
  {
    Error_Handler();
  }
  if (HAL_UARTEx_SetTxFifoThreshold(&huart1, UART_TXFIFO_THRESHOLD_1_8) != HAL_OK)
  {
    Error_Handler();
  }
  if (HAL_UARTEx_SetRxFifoThreshold(&huart1, UART_RXFIFO_THRESHOLD_1_8) != HAL_OK)
  {
    Error_Handler();
  }
  if (HAL_UARTEx_DisableFifoMode(&huart1) != HAL_OK)
  {
    Error_Handler();
  }

}

static void MX_USART2_UART_Init(void)
{

  huart2.Instance = USART2;
  huart2.Init.BaudRate = 19200;
  huart2.Init.WordLength = UART_WORDLENGTH_9B;
  huart2.Init.StopBits = UART_STOPBITS_1;
  huart2.Init.Parity = UART_PARITY_EVEN;
  huart2.Init.Mode = UART_MODE_TX_RX;
  huart2.Init.HwFlowCtl = UART_HWCONTROL_NONE;
  huart2.Init.OverSampling = UART_OVERSAMPLING_16;
  huart2.Init.OneBitSampling = UART_ONE_BIT_SAMPLE_DISABLE;
  huart2.Init.ClockPrescaler = UART_PRESCALER_DIV1;
  huart2.AdvancedInit.AdvFeatureInit = UART_ADVFEATURE_NO_INIT;
  if (HAL_UART_Init(&huart2) != HAL_OK)
  {
    Error_Handler();
  }
  if (HAL_UARTEx_SetTxFifoThreshold(&huart2, UART_TXFIFO_THRESHOLD_1_8) != HAL_OK)
  {
    Error_Handler();
  }
  if (HAL_UARTEx_SetRxFifoThreshold(&huart2, UART_RXFIFO_THRESHOLD_1_8) != HAL_OK)
  {
    Error_Handler();
  }
  if (HAL_UARTEx_DisableFifoMode(&huart2) != HAL_OK)
  {
    Error_Handler();
  }

}

static void MX_DMA_Init(void)
{

  /* DMA controller clock enable */
  __HAL_RCC_DMAMUX1_CLK_ENABLE();
  __HAL_RCC_DMA1_CLK_ENABLE();
  __HAL_RCC_DMA2_CLK_ENABLE();

  /* DMA interrupt init */
  /* DMA1_Channel1_IRQn interrupt configuration */
  HAL_NVIC_SetPriority(DMA1_Channel1_IRQn, 0, 0);
  HAL_NVIC_EnableIRQ(DMA1_Channel1_IRQn);
  /* DMA1_Channel2_IRQn interrupt configuration */
  HAL_NVIC_SetPriority(DMA1_Channel2_IRQn, 0, 0);
  HAL_NVIC_EnableIRQ(DMA1_Channel2_IRQn);
  /* DMA1_Channel3_IRQn interrupt configuration */
  HAL_NVIC_SetPriority(DMA1_Channel3_IRQn, 0, 0);
  HAL_NVIC_EnableIRQ(DMA1_Channel3_IRQn);
  /* DMA2_Channel2_IRQn interrupt configuration */
  HAL_NVIC_SetPriority(DMA2_Channel2_IRQn, 0, 0);
  HAL_NVIC_EnableIRQ(DMA2_Channel2_IRQn);

}

static void MX_GPIO_Init(void)
{
  GPIO_InitTypeDef GPIO_InitStruct = {0};

  /* GPIO Ports Clock Enable */
  __HAL_RCC_GPIOC_CLK_ENABLE();
  __HAL_RCC_GPIOF_CLK_ENABLE();
  __HAL_RCC_GPIOA_CLK_ENABLE();
  __HAL_RCC_GPIOB_CLK_ENABLE();

  /*Configure GPIO pin Output Level */
  HAL_GPIO_WritePin(GPIOB, GPIO_PIN_0|GPIO_PIN_10|GPIO_PIN_9, GPIO_PIN_SET);

  /*Configure GPIO pin Output Level */
  HAL_GPIO_WritePin(GPIOC, GPIO_PIN_7, GPIO_PIN_SET);

  /*Configure GPIO pin : B1_Pin */
  GPIO_InitStruct.Pin = B1_Pin;
  GPIO_InitStruct.Mode = GPIO_MODE_IT_RISING;
  GPIO_InitStruct.Pull = GPIO_NOPULL;
  HAL_GPIO_Init(B1_GPIO_Port, &GPIO_InitStruct);

  /*Configure GPIO pin : PA7 */
  GPIO_InitStruct.Pin = GPIO_PIN_7;
  GPIO_InitStruct.Mode = GPIO_MODE_INPUT;
  GPIO_InitStruct.Pull = GPIO_PULLUP;
  HAL_GPIO_Init(GPIOA, &GPIO_InitStruct);

  /*Configure GPIO pins : PB0 PB10 PB9 */
  GPIO_InitStruct.Pin = GPIO_PIN_0|GPIO_PIN_10|GPIO_PIN_9;
  GPIO_InitStruct.Mode = GPIO_MODE_OUTPUT_PP;
  GPIO_InitStruct.Pull = GPIO_NOPULL;
  GPIO_InitStruct.Speed = GPIO_SPEED_FREQ_LOW;
  HAL_GPIO_Init(GPIOB, &GPIO_InitStruct);

  /*Configure GPIO pin : PC7 */
  GPIO_InitStruct.Pin = GPIO_PIN_7;
  GPIO_InitStruct.Mode = GPIO_MODE_OUTPUT_PP;
  GPIO_InitStruct.Pull = GPIO_NOPULL;
  GPIO_InitStruct.Speed = GPIO_SPEED_FREQ_LOW;
  HAL_GPIO_Init(GPIOC, &GPIO_InitStruct);

  /*Configure GPIO pin : PA10 */
  GPIO_InitStruct.Pin = GPIO_PIN_10;
  GPIO_InitStruct.Mode = GPIO_MODE_IT_FALLING;
  GPIO_InitStruct.Pull = GPIO_PULLUP;
  HAL_GPIO_Init(GPIOA, &GPIO_InitStruct);

  /*Configure GPIO pin : PB5 */
  GPIO_InitStruct.Pin = GPIO_PIN_5;
  GPIO_InitStruct.Mode = GPIO_MODE_IT_FALLING;
  GPIO_InitStruct.Pull = GPIO_PULLUP;
  HAL_GPIO_Init(GPIOB, &GPIO_InitStruct);

  /*Configure GPIO pin : PB6 */
  GPIO_InitStruct.Pin = GPIO_PIN_6;
  GPIO_InitStruct.Mode = GPIO_MODE_INPUT;
  GPIO_InitStruct.Pull = GPIO_PULLUP;
  HAL_GPIO_Init(GPIOB, &GPIO_InitStruct);

  /* EXTI interrupt init*/
  HAL_NVIC_SetPriority(EXTI9_5_IRQn, 0, 0);
  HAL_NVIC_EnableIRQ(EXTI9_5_IRQn);

  HAL_NVIC_SetPriority(EXTI15_10_IRQn, 0, 0);
  HAL_NVIC_EnableIRQ(EXTI15_10_IRQn);

}

/* USER CODE BEGIN 4 */

///TRAJECTORY
void generate_trapezoidal_velocity_profile(double t2, double x2) {
  // Total displacement and time interval
	total_displacement = x2 - qeifloat;
	total_time = t2;

  // Calculate optimal acceleration time (t_acc) - Assume a reasonable value
	t_acc = total_time / 4;  // This is an assumption; you can adjust it

  // Remaining time for constant velocity phase
	t_const = total_time - 2 * t_acc;

  // Calculate peak velocity
	Peak = total_displacement / (t_acc + t_const);

	HAL_TIM_Base_Start_IT(&htim4);

	Mode = 0;

  }

void generate_Velocity()
{

		t = (time_op) * i / num_points;
				        if (t < t_acc) {
				          velocity = (Peak * (t / t_acc));
				        } else if (t >= t_acc && t <+ t_acc + t_const) {
				          velocity = Peak;
				        } else {
				          velocity = (Peak * ((time_op - t) / t_acc));
				        }
				        position += velocity/1000.0;

				        position_now = position;

				        Vfeedback = arm_pid_f32(&PID, position_now - qeifloat);

				        BTempV = Vfeedback;

				        VInM = Vfeedback * (24.0/65535.0);

		//		        pwmM = Vfeedback * (65535.0/24.0);

		//		        if (Vfeedback < 9830)
		//		        {
		//		        	Vfeedback = 9830;
		//		        }

				        zStop = 0;
				        pwmM = Vfeedback * (65535.0/24.0);

				        if(Vfeedback >= 0)
				        {
				        	__HAL_TIM_SET_COMPARE(&htim1, TIM_CHANNEL_1, pwmM);
				        	__HAL_TIM_SET_COMPARE(&htim1, TIM_CHANNEL_2, 0);

				        }

				        else if (Vfeedback < 0)
				        {

				        	__HAL_TIM_SET_COMPARE(&htim1, TIM_CHANNEL_1, 0);
				        	__HAL_TIM_SET_COMPARE(&htim1, TIM_CHANNEL_2, pwmM*-1);
				        }

		//		        qei = PlantSimulation(Vfeeback);

				        if ( i >= time_op*1000)
				        {
				        	__HAL_TIM_SET_COUNTER(&htim4, 0);
				        	HAL_TIM_Base_Stop_IT(&htim4);
				        	rou += 1;
				        	i = 0;
				        	buf[0] = 2;
				        	L_State = updateLED(buf,&htim3,TIM_CHANNEL_2);
				        	fin = 1;
//				        	Vfeedback = 0;
//
//				        	total_displacement = 0;
//				        	t_acc = 0;
//				        	t_const = 0;
//				        	Peak = 0;
//				        	t = 0;
//				        	velocity = 0;
//				        	position = 0;
//
//				        	pwmM = 0;

				        	__HAL_TIM_SET_COMPARE(&htim1, TIM_CHANNEL_1, 3000);
				        	__HAL_TIM_SET_COMPARE(&htim1, TIM_CHANNEL_2, 0);

				        }

}

float PlantSimulation(float VIn) // run with fix frequency
{
static float speed =0;
static float qei =0;
float current= VIn - speed * 0.0123;
float torque = current * 0.456;
float acc = torque * 0.789;
speed += acc;
qei += speed;
return qei;
}

//uint64_t micros()
//{
//return __HAL_TIM_GET_COUNTER(&htim2)+_micros;
//}
void BaseAction(void){
	static uint16_t timestamp1 = 0;
	static uint16_t timestamp2 = 0;
	static uint16_t timestamp3 = 0;
	static uint16_t timestamp4 = 0;
	// Vacuum & Gripper
	  vacuum = registerFrame[0x02].U16;
	  gripper = registerFrame[0x03].U16;	  //1 forward 0 backward

	  reed = rState1 + (2 * rState2); //for 2 back 1
	  registerFrame[0x04].U16 = (reed*2%3);

	  registerFrame[0x11].U16 = (uint16_t)(linear_position * 10); //Position
	  registerFrame[0x12].U16 = (uint16_t)(linear_velocity * 10); //Velocity
	  registerFrame[0x13].U16 = (uint16_t)(linear_accel * 10)	; //Acceleration
	  registerFrame[0x40].U16 = x_pos; // X-axis Position

	  //heartbeat protocal & debug
	  //registerFrame[0x00].U16 = 22881;
	  if(registerFrame[0x00].U16 != 22881){
		  registerFrame[0x00].U16 = 22881;
		  //deb++;
	  }

	  static uint16_t timestamp = 0;

		/////Set shelves
		  if(registerFrame[0x01].U16 == 1) // order mode 1 -> open setshelf
		  {
			  registerFrame[0x01].U16 = 0; //change to idle mode
			  registerFrame[0x10].U16 = 1; //current state set shelf mode

			  //delay 2000ms
			 timestamp = HAL_GetTick()+2000;
		  }
		  if(registerFrame[0x10].U16 == 1 && flagShelf == 1)
		  {
			  registerFrame[0x23].U16 = shelfPos[0];
			  registerFrame[0x24].U16 = shelfPos[1];
			  registerFrame[0x25].U16 = shelfPos[2];
			  registerFrame[0x26].U16 = shelfPos[3];
			  registerFrame[0x27].U16 = shelfPos[4];
			  registerFrame[0x10].U16 = 0; //
			  flagShelf = 0;
		  }

		///////Home
		  else if((registerFrame[0x01].U16 == 2)) //go to mode 2: Home
		  	{
		  		(registerFrame[0x01].U16) = 0; //reset status
		  		(registerFrame[0x10].U16) = 2; //Z-home

		  		setPos = shelfPos[0]; // set goal to home
		  	}
		/////point mode
			else if((registerFrame[0x01].U16) == 8)
			{
				(registerFrame[0x01].U16) = 0; //reset status
				(registerFrame[0x10].U16) = 16; // Z-go point

				setPos = (registerFrame[0x30].U16); // goal = point 30->base system 4 point mode
			}
		/////jog mode
		  //read (convert to array)
			else if((registerFrame[0x01].U16 ==4)){
				(registerFrame[0x01].U16) = 0; //reset status

				temPick = (registerFrame[0x21].U16);
				temPlace = (registerFrame[0x22].U16);
				OrderSeparate();
			}
			//run
			else if(rnd > 0)
			{
				//first round
			if(registerFrame[0x10].U16 == 0 && rnd== 5 && gripper == 0 && reed == 1 && vacuum == 0) // first rev
				{
				mode = 9; // for debug - pick
				(registerFrame[0x10].U16) = 4; // Z-go pick
				setPos = shelfPos[pick[5-rnd]-1];
				}
			if((piingpong && registerFrame[0x10].U16 == 8)) // prev mode: pick, do place
				{
				///////place down
				if(mode == 6){
					timestamp1 = HAL_GetTick() + 300; // 0.5 sec delay
					mode = 60;
					}
				if(reed != 2 && rnd> 0 && vacuum == 1 && gripper == 0 && HAL_GetTick() >= timestamp1){
					registerFrame[0x03].U16 = 1; // gripper forward
					timestamp2 = HAL_GetTick() + 100;
					mode = 61;
					}
				else if(reed == 2 && vacuum == 1 && HAL_GetTick() >= timestamp2)//reached reed vacuum not off
					{
					registerFrame[0x02].U16 = 0; //vacuum off
					timestamp3 = HAL_GetTick() + 100; // 0.5 sec delay
					mode = 62;
					}
				else if(vacuum == 0 && gripper == 1 && HAL_GetTick() >= timestamp3)
					{
					registerFrame[0x03].U16 = 0; //gripper backward
					load = 0;
					timestamp4 = HAL_GetTick() + 100;
					mode = 63;
					}
				///////finish place -> move on
				if(gripper == 0 && reed == 1 && vacuum == 0 && HAL_GetTick() >= timestamp4)
					{
					rnd--;
					if(rnd>0)
						{
						(registerFrame[0x10].U16) = 4; // Z-go pick
						setPos = shelfPos[pick[5-rnd]-1];
						mode = 9;
						}
					}
				}
			else if(piingpong && registerFrame[0x10].U16 == 4)// prev mode: place, do pick
				{
				//////pick up
				if(mode == 9){
					timestamp1 = HAL_GetTick() + 50; // 0.05 sec delay
					//mode = 90;
					}
				if(reed == 1 && gripper == 0 && vacuum == 0 && HAL_GetTick() >= timestamp1)
					{
					//registerFrame[0x02].U16 = 1; //vacuum on
					timestamp2 = HAL_GetTick() + 100;
					registerFrame[0x03].U16 = 1; //gripper forward
					//mode = 91;
					}
				else if(gripper == 1 && vacuum == 0 && HAL_GetTick() >= timestamp2) //if vacuum off
					{
					registerFrame[0x02].U16 = 1; //vacuum on
					timestamp3 = HAL_GetTick() + 400;
					//mode = 92;

					}
				else if(reed == 2 && gripper == 1 && vacuum == 1 && HAL_GetTick() >= timestamp3)
					{
					registerFrame[0x03].U16 = 0; //gripper backward
					load = 1;
					timestamp4 = HAL_GetTick() + 200;
					//mode = 93;
					}
				///////finish pick -> move on
				if(gripper == 0 && reed == 1 && vacuum == 1 && HAL_GetTick() >= timestamp4)
					{
					(registerFrame[0x10].U16) = 8; // Z-go place
					if(place[5-rnd] == 5){
						setPos = shelfPos[place[5-rnd]-1] + 50; // goal + 5mm
					}
					else{
						setPos = shelfPos[place[5-rnd]-1] + 100; // goal + 5mm
					}
					//mode = 6;
					}
				}
			}

		//end jog
			else if(registerFrame[0x10].U16 == 8 && rnd== 0)
			{
				(registerFrame[0x10].U16 = 0); // End Jogs
			}
		/////End point & Home
			else if(piingpong && (registerFrame[0x10].U16 == 2 || registerFrame[0x10].U16 == 16))
			{
				//finish point & home mode
				static uint64_t Timestamp = 0;
				if(rnd2 == 0){
					Timestamp = HAL_GetTick() + 1000; //delay
					rnd2 = 1;
				}
				else if(HAL_GetTick() >= Timestamp)
				{
					registerFrame[0x10].U16 = 0; // finish point & home mode
					rnd2 = 0;
				}
			}
	}

void OrderSeparate(void)
{
	rnd = 0;
	////// Convert to string
	for(uint16_t p = 10000;p>=1;p/=10)
	{
		if(temPick/p <= 0 || temPick/p > 5 || temPlace/p <= 0 || temPlace/p > 5) // check if 0 or > 5
		{
			rnd = 0;
			mode = 100;
			break;
		}
		pick[rnd] = temPick/p; // use this for pick
		place[rnd] = temPlace/p; // use this for place
		temPick = temPick%p;
		temPlace = temPlace%p;
		rnd++;
	}
}

/* 	@User : Move motor
 *
 * 	Function: serviceMotor
 * 	Description: Low level API to control motor
 *	Return type : void
 *
 *	Parameter:
 *		pwm: (unsigned 32-bit integer) Motor pwm value
 *		dir: (unsigned 8-bit integer) Motor direction
 *
 */

void serviceMotor(uint32_t pwm, uint8_t dir){

	zStop = 0;
	if(dir){
		__HAL_TIM_SET_COMPARE(&htim1, TIM_CHANNEL_1, pwm);
		__HAL_TIM_SET_COMPARE(&htim1, TIM_CHANNEL_2, 0);
	}
	else{
		__HAL_TIM_SET_COMPARE(&htim1, TIM_CHANNEL_1, 0);
		__HAL_TIM_SET_COMPARE(&htim1, TIM_CHANNEL_2, pwm);
	}
}

/* 	@User : Get encoder value
 *
 * 	Function: getEncoderValue
 * 	Description: Low level API to get qei's counter
 *	Return type : uint32_t
 *
 *	Parameter:
 *		void
 *
 */

uint32_t getEncoderValue(){
	return __HAL_TIM_GET_COUNTER(&htim2);
}

/* 	@User : Zero encoder value
 *
 * 	Function: zeroEncoderValue
 * 	Description: Low level API to reset encoder's qei counter to 10,000 (this is for overhead)
 *	Return type : void
 *
 *	Parameter:
 *		void
 *
 */

void zeroEncoderValue(){
	__HAL_TIM_SET_COUNTER(&htim2, 10000);
}

/* 	@User : Get zStop
 *
 * 	Function: getZStop
 * 	Description: Low level API to get ZStop flag
 *	Return type : uint8_t
 *
 *	Parameter:
 *		void
 *
 */

uint8_t getZStop(){
	return zStop;
}

// @User : Stop motor when hit the end stop
void HAL_GPIO_EXTI_Callback(uint16_t GPIO_Pin){
	if((GPIO_Pin == GPIO_PIN_10 ) && zStop== 0){
		__HAL_TIM_SET_COMPARE(&htim1, TIM_CHANNEL_1, 0);
		__HAL_TIM_SET_COMPARE(&htim1, TIM_CHANNEL_2, 0);
		zStop = 1;
		__HAL_TIM_SET_COUNTER(&htim2, 0);
		qeifloat = 0;
	}
	if ((GPIO_Pin == GPIO_PIN_5))
	{
		__HAL_TIM_SET_COMPARE(&htim1, TIM_CHANNEL_1, 0);
		__HAL_TIM_SET_COMPARE(&htim1, TIM_CHANNEL_2, 0);
		HAL_GPIO_WritePin(GPIOB, GPIO_PIN_0, GPIO_PIN_RESET);
	}

}

// @User : Stop timer3 that send data to led
void HAL_TIM_PWM_PulseFinishedCallback(TIM_HandleTypeDef *htim)
{
	if(htim -> Instance == TIM3){
		HAL_TIM_PWM_Stop_DMA(&htim3, TIM_CHANNEL_2);
	}

}

//Callback -> Timer finish
void HAL_TIM_PeriodElapsedCallback(TIM_HandleTypeDef *htim){
	if(htim == &htim5)
	{
		registerFrame[0x00].U16 = 22881; //send "Ya"
	}
	else if(htim == &htim4)
	{
		i+=1;
		generate_Velocity();

	}

	else if(htim == &htim7)
	{
	_micros += UINT16_MAX;
	}

}

uint64_t micros()
{
return __HAL_TIM_GET_COUNTER(&htim7)+_micros;
}

void QEIEncoderPosVel_Update()
{
//collect data
QEIdata.TimeStamps[NEW] = micros();
QEIdata.Positions[NEW] = __HAL_TIM_GET_COUNTER(&htim2);
//Postion 1 turn calculation
QEIdata.QEIPostion_1turn = QEIdata.Positions[NEW] % 3072;
//calculate dx
diffPosition = QEIdata.Positions[NEW] - QEIdata.Positions[OLD];
//Handle Warp around
//if(diffPosition > 2147483647)
//diffPosition -=4294967295 ;
//if(diffPosition < 2147483647)
//diffPosition +=4294967295;
//calculate dt
diffTime = (QEIdata.TimeStamps[NEW]-QEIdata.TimeStamps[OLD]) * 0.000001;
//calculate anglar velocity
QEIdata.QEIAngularVelocity = (diffPosition / diffTime)*(59.19/8192)*100.0;
//store value for next loop
QEIdata.Positions[OLD] = QEIdata.Positions[NEW];
QEIdata.TimeStamps[OLD]=QEIdata.TimeStamps[NEW];
}

/* USER CODE END 4 */

void Error_Handler(void)
{
  __disable_irq();
  while (1)
  {
  }
}
